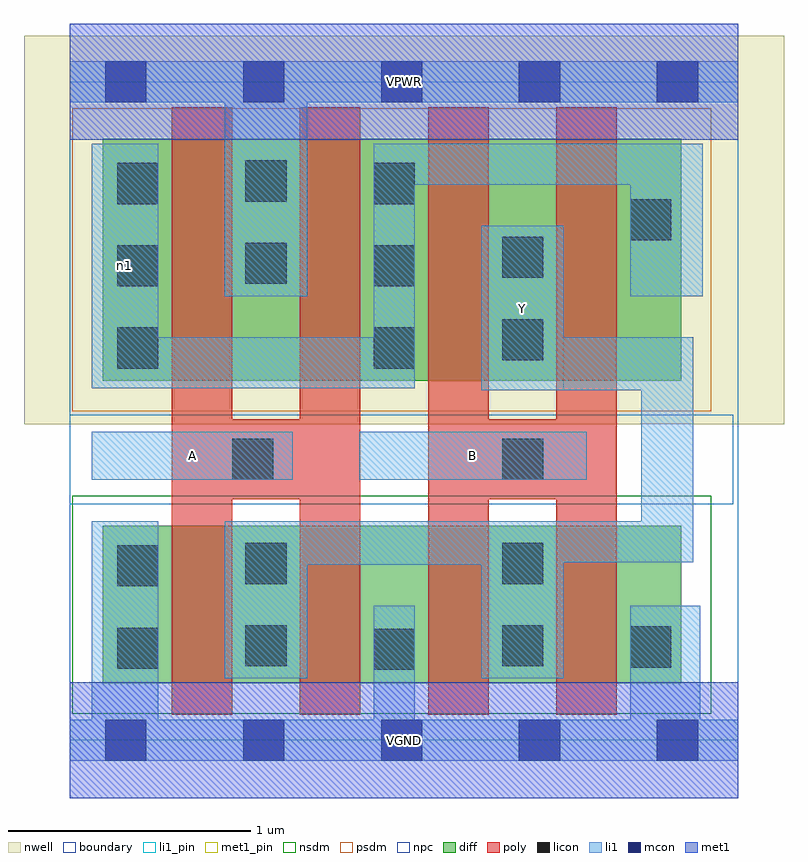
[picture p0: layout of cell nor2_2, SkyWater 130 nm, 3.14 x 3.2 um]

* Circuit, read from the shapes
.subckt nor2_2 A B VGND VPWR Y n1
XM1 Y A VGND VSUBS sky130_fd_pr__nfet_01v8 w=0.65 l=0.25 m=2
XM2 Y B VGND VSUBS sky130_fd_pr__nfet_01v8 w=0.65 l=0.25 m=2
XM3 VPWR A n1 n2 sky130_fd_pr__pfet_01v8 w=1 l=0.25 m=2
XM4 Y B n1 n2 sky130_fd_pr__pfet_01v8 w=1 l=0.25 m=2
.ends

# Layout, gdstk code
import gdstk
lib = gdstk.Library(unit=1e-6, precision=1e-09)
def R(c, l, rs):  # rectangles x0, y0, x1, y1
    for r in rs: c.add(gdstk.rectangle(r[:2], r[2:], *l))
def A(c, l, x, y, w, h, nx, ny, dx, dy):  # array of equal rectangles
    R(c, l, [(x+i*dx, y+j*dy, x+i*dx+w, y+j*dy+h) for i in range(nx) for j in range(ny)])
nwell = (64, 20)
diff = (65, 20)
poly = (66, 20)
licon = (66, 44)
li1_pin = (67, 16)
li1 = (67, 20)
mcon = (67, 44)
met1_pin = (68, 16)
met1 = (68, 20)
nsdm = (93, 44)
psdm = (94, 20)
npc = (95, 20)
boundary = (235, 4)

nor2_2 = lib.new_cell('nor2_2')
R(nor2_2, nwell, [(-0.19,1.305,2.95,2.91), (0,1.305,2.76,2.91)])
R(nor2_2, diff, [(0.135,0.235,2.525,0.885), (0.135,1.485,2.525,2.485)])
A(nor2_2, poly, 0.42, 0.105, 0.25, 2.51, 4, 1, 0.53, 0)
R(nor2_2, poly, [(0.42,0.995,1.2,1.325), (1.48,0.995,2.26,1.325)])
A(nor2_2, licon, 0.195, 1.535, 0.17, 0.17, 1, 3, 0, 0.34)
A(nor2_2, licon, 1.255, 1.535, 0.17, 0.17, 1, 3, 0, 0.34)
R(nor2_2, licon, [(1.255,0.29,1.425,0.46), (0.195,0.295,0.365,0.465), (2.315,0.3,2.485,0.47), (0.725,0.305,0.895,0.475), (1.785,0.305,1.955,0.475), (0.195,0.635,0.365,0.805), (0.725,0.645,0.895,0.815), (1.785,0.645,1.955,0.815), (0.67,1.075,0.84,1.245), (1.785,1.075,1.955,1.245), (1.785,1.57,1.955,1.74), (0.725,1.885,0.895,2.055), (1.785,1.91,1.955,2.08), (2.315,2.065,2.485,2.235), (0.725,2.225,0.895,2.395)])
R(nor2_2, li1_pin, [(0.09,1.075,0.92,1.275), (1.195,1.075,2.135,1.275), (1.7,1.445,2.04,2.125)])
R(nor2_2, li1, [(0,-0.085,2.76,0.085), (0.09,-0.085,0.365,0.905), (1.255,-0.085,1.425,0.555), (2.315,-0.085,2.605,0.555), (0.64,0.255,0.98,0.905), (1.7,0.255,2.04,0.905), (0.64,0.725,2.04,0.905), (0.64,0.735,2.575,0.905), (2.36,0.735,2.575,1.665), (0.09,1.075,0.92,1.275), (1.195,1.075,2.135,1.275), (1.7,1.445,2.04,2.125), (1.7,1.445,2.575,1.665), (0.09,1.455,0.365,2.465), (0.09,1.455,1.425,1.665), (1.255,1.455,1.425,2.465), (0.64,1.835,0.98,2.805), (2.315,1.835,2.615,2.465), (1.255,2.295,2.615,2.465), (0,2.635,2.76,2.805)])
A(nor2_2, mcon, 0.145, -0.085, 0.17, 0.17, 5, 2, 0.57, 2.72)
R(nor2_2, met1_pin, [(0,-0.24,2.76,0.24), (0,2.48,2.76,2.96)])
R(nor2_2, met1, [(0,-0.24,2.76,0.24), (0,2.48,2.76,2.96)])
R(nor2_2, nsdm, [(0.01,0.11,2.65,1.01)])
R(nor2_2, psdm, [(0.01,1.36,2.65,2.61)])
R(nor2_2, npc, [(0,0.975,2.74,1.345)])
R(nor2_2, boundary, [(0,0,2.76,2.72)])
nor2_2.add(gdstk.Label('A', (0.505,1.175), layer=67, texttype=5))
nor2_2.add(gdstk.Label('B', (1.665,1.175), layer=67, texttype=5))
nor2_2.add(gdstk.Label('Y', (1.87,1.785), layer=67, texttype=5))
nor2_2.add(gdstk.Label('n1', (0.227,1.96), layer=67, texttype=5))
nor2_2.add(gdstk.Label('VPWR', (1.38,2.72), layer=68, texttype=5))
nor2_2.add(gdstk.Label('VGND', (1.38,0), layer=68, texttype=5))
nor2_2.add(gdstk.Label('A', (0.505,1.175), layer=67, texttype=16))
nor2_2.add(gdstk.Label('B', (1.665,1.175), layer=67, texttype=16))
nor2_2.add(gdstk.Label('Y', (1.87,1.785), layer=67, texttype=16))
nor2_2.add(gdstk.Label('VPWR', (1.38,2.72), layer=68, texttype=16))
nor2_2.add(gdstk.Label('VGND', (1.38,0), layer=68, texttype=16))

lib.write_gds('nor2_2.gds')
